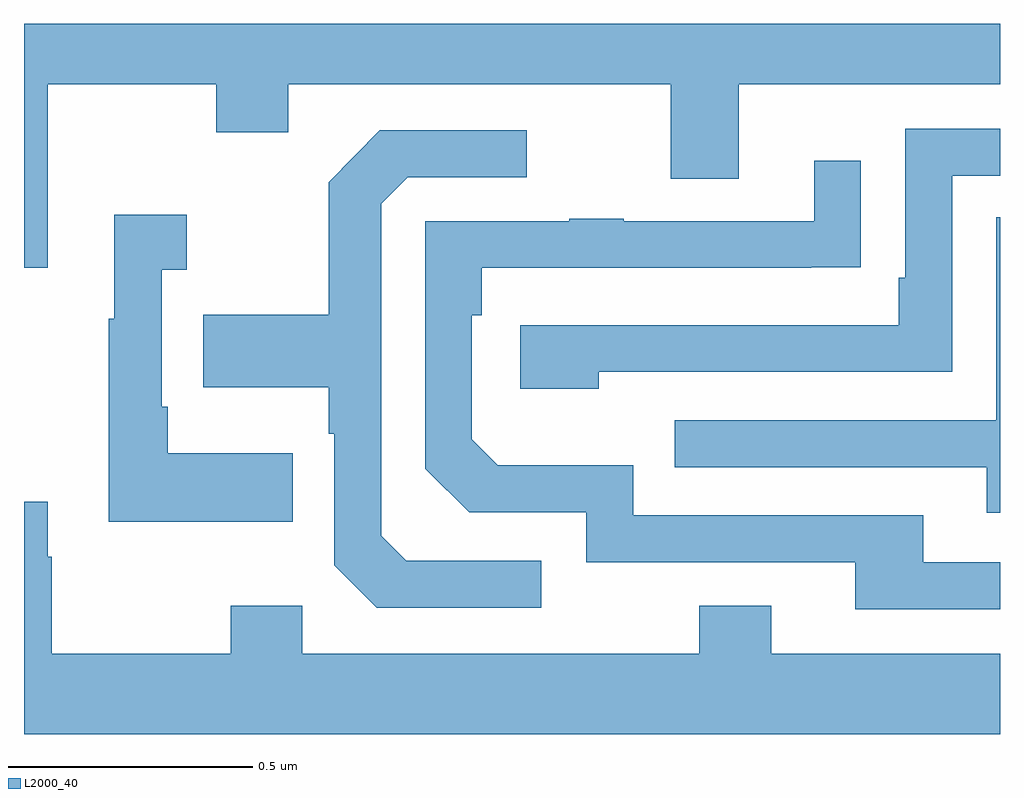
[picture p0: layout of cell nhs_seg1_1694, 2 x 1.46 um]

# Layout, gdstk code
import gdstk
lib = gdstk.Library(unit=1e-6, precision=1e-09)
def P(c, l, *ps):  # polygons
    for p in ps: c.add(gdstk.Polygon(p, *l))
L2000_40 = (2000, 40)

nhs_seg1_1694 = lib.new_cell('nhs_seg1_1694')
P(nhs_seg1_1694, L2000_40, [(132.049,541.076),(132.394,541.076),(132.394,540.977),(132.541,540.977),(132.541,541.076),(133.325,541.076),(133.325,540.882),(133.465,540.882),(133.465,541.076),(134,541.076),(134,541.199),(132,541.199),(132,540.699),(132.049,540.699)],
  [(133.178,540.486),(133.902,540.486),(133.902,540.888),(134,540.888),(134,540.984),(133.806,540.984),(133.806,540.679),(133.793,540.679),(133.793,540.582),(133.017,540.582),(133.017,540.452),(133.178,540.452)],
  [(133.06,540.099),(132.783,540.099),(132.732,540.15),(132.732,540.831),(132.786,540.885),(133.03,540.885),(133.03,540.981),(132.729,540.981),(132.624,540.875),(132.624,540.603),(132.367,540.603),(132.367,540.455),(132.624,540.455),(132.624,540.359),(132.636,540.359),(132.636,540.09),(132.723,540.003),(133.06,540.003)],
  [(134,540.096),(133.843,540.096),(133.843,540.192),(133.248,540.192),(133.248,540.295),(132.971,540.295),(132.918,540.348),(132.918,540.602),(132.938,540.602),(132.938,540.699),(133.613,540.699),(133.613,540.7),(133.715,540.7),(133.715,540.919),(133.619,540.919),(133.619,540.795),(133.229,540.795),(133.229,540.8),(133.117,540.8),(133.117,540.795),(132.822,540.795),(132.822,540.288),(132.912,540.198),(133.152,540.198),(133.152,540.096),(133.703,540.096),(133.703,540),(134,540)],
  [(132.551,540.319),(132.295,540.319),(132.295,540.415),(132.282,540.415),(132.282,540.695),(132.334,540.695),(132.334,540.808),(132.185,540.808),(132.185,540.595),(132.174,540.595),(132.174,540.179),(132.551,540.179)],
  [(134,540.803),(133.992,540.803),(133.992,540.387),(133.333,540.387),(133.333,540.291),(133.973,540.291),(133.973,540.197),(134,540.197)],
  [(134,539.908),(133.531,539.908),(133.531,540.007),(133.384,540.007),(133.384,539.908),(132.57,539.908),(132.57,540.007),(132.424,540.007),(132.424,539.908),(132.057,539.908),(132.057,540.107),(132.049,540.107),(132.049,540.22),(132,540.22),(132,539.744),(134,539.744)])

lib.write_gds('nhs_seg1_1694.gds')
